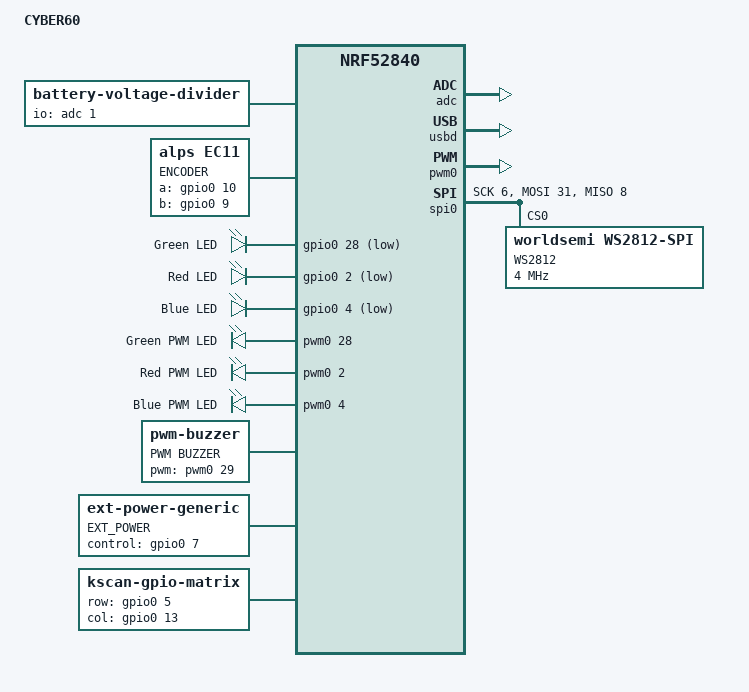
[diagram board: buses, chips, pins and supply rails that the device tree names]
/*
 * Copyright (c) 2020-2021 Stefan Sundin (4pplet)
 * Copyright (c) 2021 Megamind (megamind4089)
 *
 * SPDX-License-Identifier: MIT
 */

/dts-v1/;
#include <nordic/nrf52840_qiaa.dtsi>
#include <dt-bindings/zmk/matrix_transform.h>
/ {
    model = "CYBER60";
    compatible = "cyber60";

    chosen {
        zephyr,code-partition = &code_partition;
        zephyr,sram = &sram0;
        zephyr,flash = &flash0;
        zmk,kscan = &kscan0;
        zmk,matrix_transform = &default_transform;
        zmk,underglow = &led_strip;
    };

    vbatt {
        compatible = "zmk,battery-voltage-divider";
        label = "BATTERY";
        io-channels = <&adc 1>;
        output-ohms = <2000000>;
        full-ohms = <(1000000 + 2000000)>;
    };

    sensors {
        compatible = "zmk,keymap-sensors";
        sensors = <&encoder>;
    };

    // Override gpios config in board revision if required
    encoder: encoder_1 {
        compatible = "alps,ec11";
        label = "ENCODER";
        a-gpios = <&gpio0 10 (GPIO_ACTIVE_HIGH | GPIO_PULL_UP)>;
        b-gpios = <&gpio0 9 (GPIO_ACTIVE_HIGH | GPIO_PULL_UP)>;
        resolution = <2>;
    };

    // Override gpios config in board revision if required
    leds {
        compatible = "gpio-leds";
        led_0: led_green {
            gpios = <&gpio0 28 GPIO_ACTIVE_LOW>;
            label = "Green LED";
            status = "okay";
        };
        led_1: led_red {
            gpios = <&gpio0 2 GPIO_ACTIVE_LOW>;
            label = "Red LED";
            status = "okay";
        };
        led_2: led_blue {
            gpios = <&gpio0 4 GPIO_ACTIVE_LOW>;
            label = "Blue LED";
            status = "okay";
        };
    };

    // Override pwms config in board revision if required
    pwmleds {
        compatible = "pwm-leds";
        pwm_led_0: pwm_led_green {
            pwms = <&pwm0 28>;
            label = "Green PWM LED";
            status = "okay";
        };
        pwm_led_1: pwm_led_red {
            pwms = <&pwm0 2>;
            label = "Red PWM LED";
            status = "okay";
        };
        pwm_led_2: pwm_led_blue {
            pwms = <&pwm0 4>;
            label = "Blue PWM LED";
            status = "okay";
        };
    };

    // PWM buzzer config
    buzzer: pwm_buzzer {
        compatible = "pwm-buzzer";
        label = "PWM BUZZER";
        // Override in board revision if required
        pwms = <&pwm0 29>;
        status = "okay";
    };

    /* These aliases are provided for compatibility with samples */
    aliases {
        ledgreen = &led_0;
        ledred   = &led_1;
        ledblue  = &led_2;
        pwmledgreen = &pwm_led_0;
        pwmledred = &pwm_led_1;
        pwmledblue = &pwm_led_2;
		buzzer = &buzzer;
    };

    ext-power {
        compatible = "zmk,ext-power-generic";
        label = "EXT_POWER";
        control-gpios = <&gpio0 7 GPIO_ACTIVE_HIGH>;
    };

    default_transform: keymap_transform_0 {
        compatible = "zmk,matrix-transform";
    };
    kscan0: kscan {
        compatible = "zmk,kscan-gpio-matrix";
        label = "KSCAN";
        row-gpios = <&gpio0 5  (GPIO_ACTIVE_HIGH | GPIO_PULL_DOWN)>;
        col-gpios = <&gpio0 13  (GPIO_ACTIVE_HIGH | GPIO_PULL_DOWN)>;
    };
};

&gpio0 {
    status = "okay";
};

&gpio1 {
    status = "okay";
};

&adc {
    status = "okay";
};

&usbd {
    status = "okay";
};

&pwm0 {
    status = "okay";
};

&spi0 {
    compatible = "nordic,nrf-spim";
    status = "okay";
    // Underglow data: P0.31
    // Override in board revision if required
    mosi-pin = <31>;
    // Unused pins, needed for SPI definition, but not used by the ws2812 driver itself.
    sck-pin = <6>;
    miso-pin = <8>;

    led_strip: ws2812@0 {
        compatible = "worldsemi,ws2812-spi";
        label = "WS2812";

        /* SPI */
        reg = <0>; /* ignored, but necessary for SPI bindings */
        spi-max-frequency = <4000000>;

        /* WS2812 */
        chain-length = <16>; /* number of LEDs */
        spi-one-frame = <0x70>;
        spi-zero-frame = <0x40>;
    };
};

&flash0 {
    /*
     * For more information, see:
     * http://docs.zephyrproject.org/latest/devices/dts/flash_partitions.html
     */
    partitions {
        compatible = "fixed-partitions";
        #address-cells = <1>;
        #size-cells = <1>;

        sd_partition: partition@0 {
            label = "softdevice";
            reg = <0x00000000 0x00026000>;
        };
        code_partition: partition@26000 {
            label = "code_partition";
            reg = <0x00026000 0x000c6000>;
        };

        /*
         * The flash starting at 0x000ec000 and ending at
         * 0x000f3fff is reserved for use by the application.
         */

        /*
         * Storage partition will be used by FCB/LittleFS/NVS
         * if enabled.
         */
        storage_partition: partition@ec000 {
            label = "storage";
            reg = <0x000ec000 0x00008000>;
        };

        boot_partition: partition@f4000 {
            label = "adafruit_boot";
            reg = <0x000f4000 0x0000c000>;
        };
    };
};
